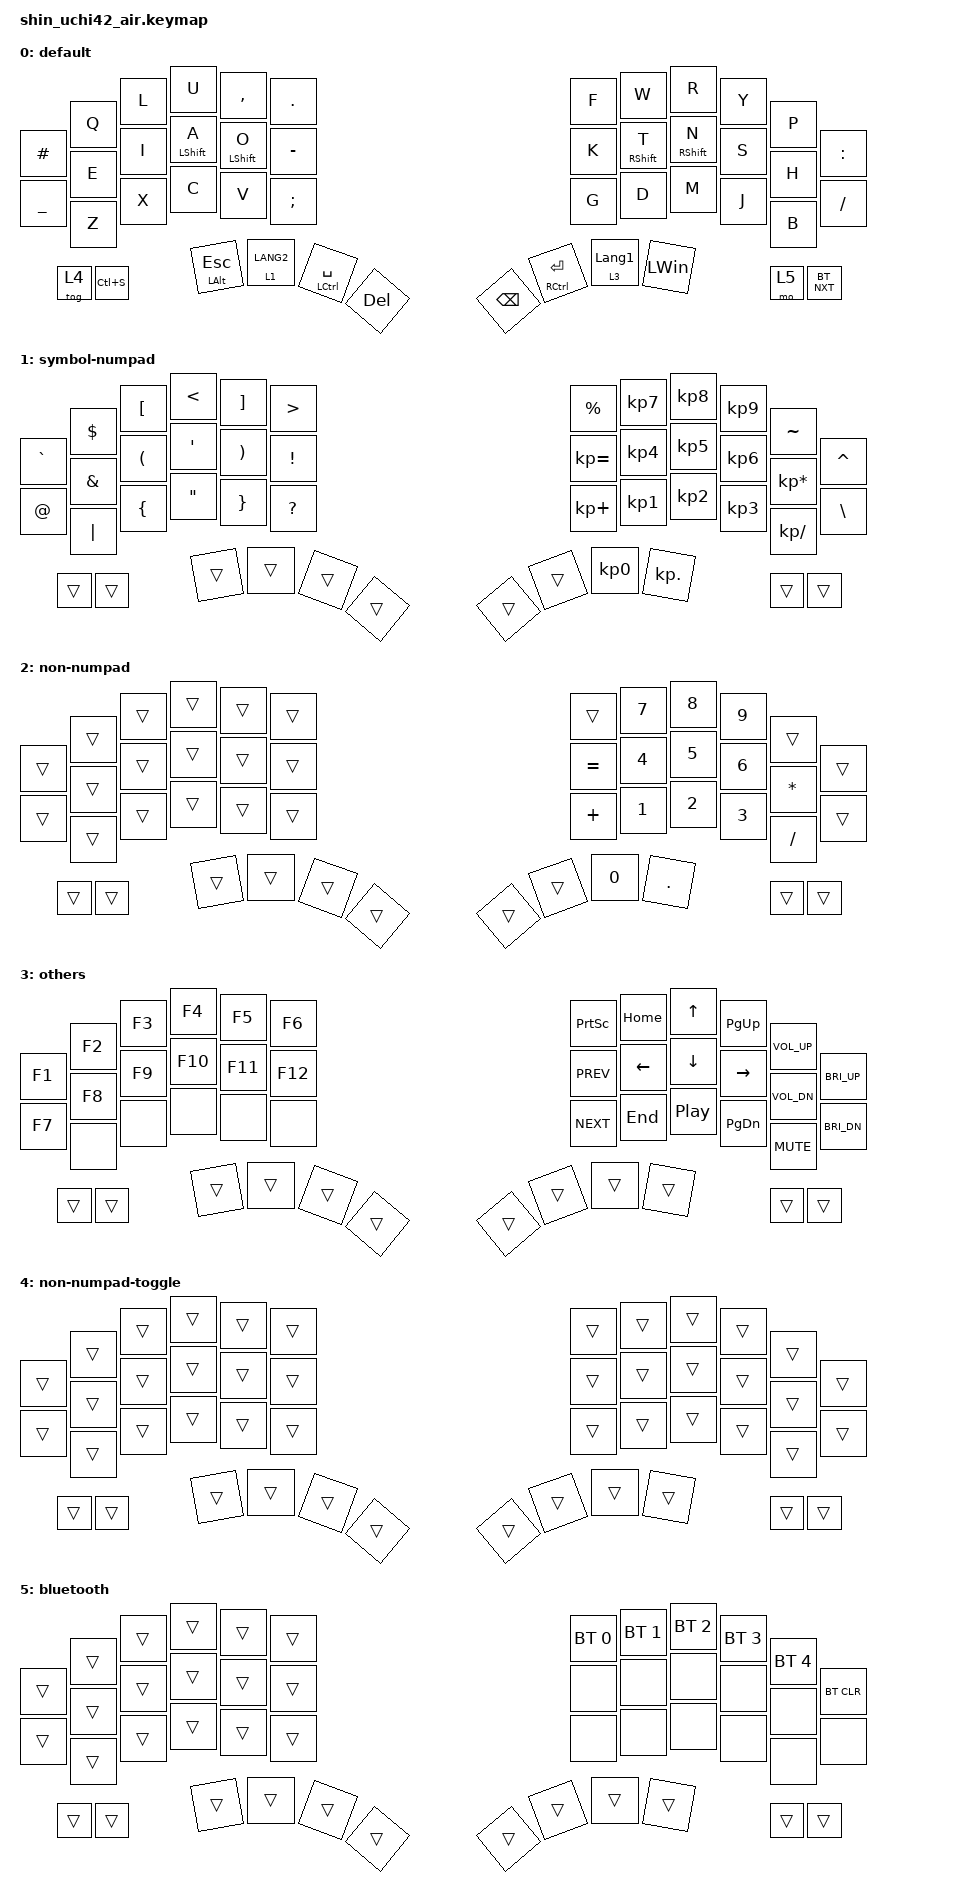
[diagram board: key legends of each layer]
#include <behaviors.dtsi>
#include <dt-bindings/zmk/bt.h>
#include <dt-bindings/zmk/keys.h>
#include "keys_ja.h"

&mt {
    quick-tap-ms = <200>;
    require-prior-idle-ms = <200>;
    flavor = "balanced";
};

/ {
    combos {
        compatible = "zmk,combos";

        tab {
            bindings = <&kp TAB>;
            key-positions = <14 15>;
        };

        shift+tab {
            bindings = <&kp LS(TAB)>;
            key-positions = <26 27>;
        };

        Bootloader {
            bindings = <&bootloader>;
            key-positions = <44 45>;
        };

        NumLock {
            bindings = <&kp KP_NUMLOCK>;
            key-positions = <34 35>;
        };
    };

    keymap {
        compatible = "zmk,keymap";

        default {
            bindings = <
           &kp Q      &kp L             &kp U             &kp COMMA         &kp DOT     &kp F     &kp W              &kp R             &kp Y         &kp P
&kp HASH   &kp E      &kp I             &mt LEFT_SHIFT A  &mt LEFT_SHIFT O  &kp MINUS   &kp K     &mt RIGHT_SHIFT T  &mt RSHIFT N      &kp S         &kp H  &kp COLON
&kp UNDER  &kp Z      &kp X             &kp C             &kp V             &kp SEMI    &kp G     &kp D              &kp M             &kp J         &kp B  &kp FSLH
&tog 4     &kp LC(S)  &mt LEFT_ALT ESC  &lt 1 LANG2       &mt LCTRL SPACE   &kp DELETE  &kp BSPC  &mt RCTRL ENTER    &lt 3 LANGUAGE_1  &kp LEFT_WIN  &mo 5  &bt BT_NXT
            >;
        };

        symbol-numpad {
            bindings = <
             &kp DOLLAR     &kp LBKT  &kp LESS_THAN      &kp RBKT  &kp GREATER_THAN  &kp PERCENT   &kp KP_NUMBER_7  &kp KP_NUMBER_8  &kp KP_NUMBER_9  &kp TILDE
&kp GRAVE    &kp AMPERSAND  &kp LPAR  &kp SINGLE_QUOTE   &kp RPAR  &kp EXCL          &kp KP_EQUAL  &kp KP_NUMBER_4  &kp KP_NUMBER_5  &kp KP_NUMBER_6  &kp KP_ASTERISK  &kp CARET
&kp AT_SIGN  &kp PIPE       &kp LBRC  &kp DOUBLE_QUOTES  &kp RBRC  &kp QMARK         &kp KP_PLUS   &kp KP_NUMBER_1  &kp KP_NUMBER_2  &kp KP_NUMBER_3  &kp KP_DIVIDE    &kp BACKSLASH
&trans       &trans         &trans    &trans             &trans    &trans            &trans        &trans           &kp KP_NUMBER_0  &kp KP_DOT       &trans           &trans
            >;
        };

        non-numpad {
            bindings = <
        &trans  &trans  &trans  &trans  &trans  &trans     &kp N7  &kp N8  &kp N9   &trans
&trans  &trans  &trans  &trans  &trans  &trans  &kp EQUAL  &kp N4  &kp N5  &kp N6   &kp ASTRK  &trans
&trans  &trans  &trans  &trans  &trans  &trans  &kp PLUS   &kp N1  &kp N2  &kp N3   &kp SLASH  &trans
&trans  &trans  &trans  &trans  &trans  &trans  &trans     &trans  &kp N0  &kp DOT  &trans     &trans
            >;
        };

        others {
            bindings = <
        &kp F2  &kp F3  &kp F4   &kp F5   &kp F6   &kp PRINTSCREEN  &kp HOME  &kp UP            &kp PG_UP      &kp C_VOLUME_UP
&kp F1  &kp F8  &kp F9  &kp F10  &kp F11  &kp F12  &kp C_PREV       &kp LEFT  &kp DOWN          &kp RIGHT      &kp C_VOL_DN     &kp C_BRI_UP
&kp F7  &none   &none   &none    &none    &none    &kp C_NEXT       &kp END   &kp C_PLAY_PAUSE  &kp PAGE_DOWN  &kp C_MUTE       &kp C_BRI_DN
&trans  &trans  &trans  &trans   &trans   &trans   &trans           &trans    &trans            &trans         &trans           &trans
            >;
        };

        non-numpad-toggle {
            bindings = <
        &trans  &trans  &trans  &trans  &trans  &trans  &trans  &trans  &trans  &trans
&trans  &trans  &trans  &trans  &trans  &trans  &trans  &trans  &trans  &trans  &trans  &trans
&trans  &trans  &trans  &trans  &trans  &trans  &trans  &trans  &trans  &trans  &trans  &trans
&trans  &trans  &trans  &trans  &trans  &trans  &trans  &trans  &trans  &trans  &trans  &trans
            >;
        };

        bluetooth {
            bindings = <
        &trans  &trans  &trans  &trans  &trans  &bt BT_SEL 0  &bt BT_SEL 1  &bt BT_SEL 2  &bt BT_SEL 3  &bt BT_SEL 4
&trans  &trans  &trans  &trans  &trans  &trans  &none         &none         &none         &none         &none         &bt BT_CLR
&trans  &trans  &trans  &trans  &trans  &trans  &none         &none         &none         &none         &none         &none
&trans  &trans  &trans  &trans  &trans  &trans  &trans        &trans        &trans        &trans        &trans        &trans
            >;
        };
    };

    conditional_layers {
        compatible = "zmk,conditional-layers";

        keypad_mode {
            if-layers = <1 4>;
            then-layer = <2>;
        };
    };
};
